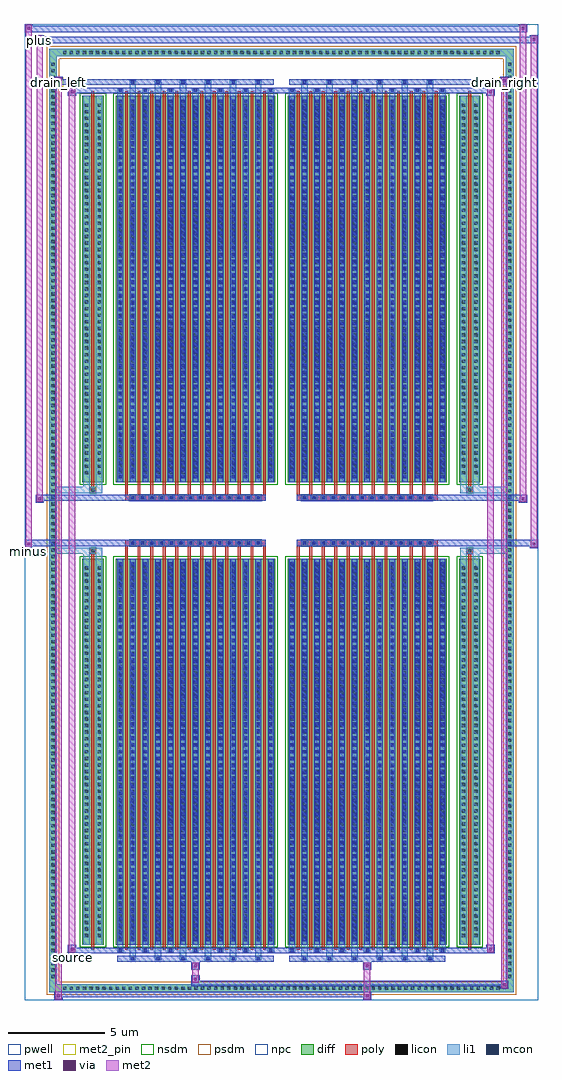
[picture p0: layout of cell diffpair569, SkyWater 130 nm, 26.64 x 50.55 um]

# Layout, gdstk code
import gdstk
lib = gdstk.Library(unit=1e-6, precision=5e-09)
def R(c, l, rs):  # rectangles x0, y0, x1, y1
    for r in rs: c.add(gdstk.rectangle(r[:2], r[2:], *l))
def A(c, l, x, y, w, h, nx, ny, dx, dy):  # array of equal rectangles
    R(c, l, [(x+i*dx, y+j*dy, x+i*dx+w, y+j*dy+h) for i in range(nx) for j in range(ny)])
def P(c, l, *ps):  # polygons
    for p in ps: c.add(gdstk.Polygon(p, *l))
pwell = (64, 44)
diff = (65, 20)
poly = (66, 20)
licon = (66, 44)
li1 = (67, 20)
mcon = (67, 44)
met1 = (68, 20)
via = (68, 44)
met2_pin = (69, 16)
met2 = (69, 20)
nsdm = (93, 44)
psdm = (94, 20)
npc = (95, 20)

diffpair569 = lib.new_cell('diffpair569')
R(diffpair569, pwell, [(-13.3,-24.84,13.3,25.71), (-10.62,-23.03,-0.01,-0.805), (0.01,-23.03,10.62,-0.805), (-10.62,0.805,-0.01,23.03), (0.01,0.805,10.62,23.03)])
A(diffpair569, diff, -11.425, -24.44, 0.41, 0.41, 67, 2, 0.34, 48.47)
A(diffpair569, diff, -12.03, -23.835, 0.41, 0.41, 1, 140, 0, 0.34)
A(diffpair569, diff, 11.62, -23.835, 0.41, 0.41, 1, 140, 0, 0.34)
R(diffpair569, diff, [(-11.425,-24.44,11.425,-24.03), (-12.03,-23.835,-11.62,23.835), (11.62,-23.835,12.03,23.835), (-10.31,-21.985,-9.21,-1.985), (-8.57,-21.985,-0.32,-1.985), (0.32,-21.985,8.57,-1.985), (9.21,-21.985,10.31,-1.985), (-10.31,1.985,-9.21,21.985), (-8.57,1.985,-0.32,21.985), (0.32,1.985,8.57,21.985), (9.21,1.985,10.31,21.985), (-11.425,24.03,11.425,24.44)])
P(diffpair569, diff, [(12.03,24.44),(-12.03,24.44),(-12.03,-24.03),(-11.62,-24.03),(-11.62,24.03),(11.62,24.03),(11.62,-24.03),(-11.62,-24.03),(-12.03,-24.03),(-12.03,-24.44),(12.03,-24.44)])
A(diffpair569, poly, -8.095, -22.235, 0.15, 20.5, 12, 2, 0.65, 23.97)
A(diffpair569, poly, 0.795, -22.235, 0.15, 20.5, 12, 2, 0.65, 23.97)
A(diffpair569, poly, -8.095, -1.735, 0.15, 0.4, 12, 2, 0.65, 3.07)
A(diffpair569, poly, 0.795, -1.735, 0.15, 0.4, 12, 2, 0.65, 3.07)
A(diffpair569, poly, -7.86, -1.335, 0.33, 0.33, 14, 2, 0.5, 2.34)
A(diffpair569, poly, 1.03, -1.335, 0.33, 0.33, 14, 2, 0.5, 2.34)
R(diffpair569, poly, [(-9.835,-22.235,-9.685,-1.735), (9.685,-22.235,9.835,-1.735), (-9.925,-1.735,-9.595,-1.405), (-9.925,-1.735,-9.595,-1.405), (9.595,-1.735,9.925,-1.405), (9.595,-1.735,9.925,-1.405), (-8.095,-1.335,-0.795,-1.005), (0.795,-1.335,8.095,-1.005), (-8.095,1.005,-0.795,1.335), (0.795,1.005,8.095,1.335), (-9.925,1.405,-9.595,1.735), (-9.925,1.405,-9.595,1.735), (9.595,1.405,9.925,1.735), (9.595,1.405,9.925,1.735), (-9.835,1.735,-9.685,22.235), (9.685,1.735,9.835,22.235)])
A(diffpair569, licon, -11.305, -24.32, 0.17, 0.17, 67, 2, 0.34, 48.47)
A(diffpair569, licon, -11.91, -23.715, 0.17, 0.17, 1, 140, 0, 0.34)
A(diffpair569, licon, 11.74, -23.715, 0.17, 0.17, 1, 140, 0, 0.34)
A(diffpair569, licon, -10.17, -21.59, 0.17, 0.17, 1, 57, 0, 0.34)
A(diffpair569, licon, -9.52, -21.59, 0.17, 0.17, 1, 57, 0, 0.34)
A(diffpair569, licon, -8.43, -21.59, 0.17, 0.17, 13, 57, 0.65, 0.34)
A(diffpair569, licon, 0.46, -21.59, 0.17, 0.17, 13, 57, 0.65, 0.34)
A(diffpair569, licon, 9.35, -21.59, 0.17, 0.17, 1, 57, 0, 0.34)
A(diffpair569, licon, 10, -21.59, 0.17, 0.17, 1, 57, 0, 0.34)
A(diffpair569, licon, -7.78, -1.255, 0.17, 0.17, 14, 2, 0.5, 2.34)
A(diffpair569, licon, 1.11, -1.255, 0.17, 0.17, 14, 2, 0.5, 2.34)
A(diffpair569, licon, -10.17, 2.38, 0.17, 0.17, 1, 57, 0, 0.34)
A(diffpair569, licon, -9.52, 2.38, 0.17, 0.17, 1, 57, 0, 0.34)
A(diffpair569, licon, -8.43, 2.38, 0.17, 0.17, 13, 57, 0.65, 0.34)
A(diffpair569, licon, 0.46, 2.38, 0.17, 0.17, 13, 57, 0.65, 0.34)
A(diffpair569, licon, 9.35, 2.38, 0.17, 0.17, 1, 57, 0, 0.34)
A(diffpair569, licon, 10, 2.38, 0.17, 0.17, 1, 57, 0, 0.34)
R(diffpair569, licon, [(-9.845,-1.655,-9.675,-1.485), (9.675,-1.655,9.845,-1.485), (-9.845,1.485,-9.675,1.655), (9.675,1.485,9.845,1.655)])
A(diffpair569, li1, -11.385, -24.4, 0.33, 0.33, 67, 2, 0.34, 48.47)
A(diffpair569, li1, -11.99, -23.795, 0.33, 0.33, 1, 140, 0, 0.34)
A(diffpair569, li1, 11.66, -23.795, 0.33, 0.33, 1, 140, 0, 0.34)
A(diffpair569, li1, -7.86, -22.79, 0.33, 0.805, 6, 2, 1.3, 44.775)
A(diffpair569, li1, -7.78, -22.79, 0.17, 0.17, 6, 2, 1.3, 45.41)
A(diffpair569, li1, 1.03, -22.79, 0.33, 0.805, 6, 2, 1.3, 44.775)
A(diffpair569, li1, 1.11, -22.79, 0.17, 0.17, 6, 2, 1.3, 45.41)
A(diffpair569, li1, -8.51, -22.36, 0.33, 0.375, 7, 2, 1.3, 44.345)
A(diffpair569, li1, -8.43, -22.36, 0.17, 0.17, 7, 2, 1.3, 44.55)
A(diffpair569, li1, 0.38, -22.36, 0.33, 0.375, 7, 2, 1.3, 44.345)
A(diffpair569, li1, 0.46, -22.36, 0.17, 0.17, 7, 2, 1.3, 44.55)
A(diffpair569, li1, -8.51, -21.985, 0.33, 20, 13, 2, 0.65, 23.97)
A(diffpair569, li1, 0.38, -21.985, 0.33, 20, 13, 2, 0.65, 23.97)
A(diffpair569, li1, -8.43, -21.79, 0.17, 0.17, 13, 55, 0.65, 0.36)
A(diffpair569, li1, -8.43, -21.79, 0.17, 19.61, 13, 2, 0.65, 23.97)
A(diffpair569, li1, 0.46, -21.79, 0.17, 0.17, 13, 55, 0.65, 0.36)
A(diffpair569, li1, 0.46, -21.79, 0.17, 19.61, 13, 2, 0.65, 23.97)
A(diffpair569, li1, -10.25, -21.67, 0.33, 0.33, 1, 57, 0, 0.34)
A(diffpair569, li1, -9.6, -21.67, 0.33, 0.33, 1, 57, 0, 0.34)
A(diffpair569, li1, -8.51, -21.67, 0.33, 0.33, 13, 57, 0.65, 0.34)
A(diffpair569, li1, 0.38, -21.67, 0.33, 0.33, 13, 57, 0.65, 0.34)
A(diffpair569, li1, 9.27, -21.67, 0.33, 0.33, 1, 57, 0, 0.34)
A(diffpair569, li1, 9.92, -21.67, 0.33, 0.33, 1, 57, 0, 0.34)
A(diffpair569, li1, -7.86, -1.335, 0.33, 0.33, 14, 2, 0.5, 2.34)
A(diffpair569, li1, 1.03, -1.335, 0.33, 0.33, 14, 2, 0.5, 2.34)
A(diffpair569, li1, -8.43, 2.18, 0.17, 0.17, 13, 55, 0.65, 0.36)
A(diffpair569, li1, 0.46, 2.18, 0.17, 0.17, 13, 55, 0.65, 0.36)
A(diffpair569, li1, -10.25, 2.3, 0.33, 0.33, 1, 57, 0, 0.34)
A(diffpair569, li1, -9.6, 2.3, 0.33, 0.33, 1, 57, 0, 0.34)
A(diffpair569, li1, -8.51, 2.3, 0.33, 0.33, 13, 57, 0.65, 0.34)
A(diffpair569, li1, 0.38, 2.3, 0.33, 0.33, 13, 57, 0.65, 0.34)
A(diffpair569, li1, 9.27, 2.3, 0.33, 0.33, 1, 57, 0, 0.34)
A(diffpair569, li1, 9.92, 2.3, 0.33, 0.33, 1, 57, 0, 0.34)
R(diffpair569, li1, [(-12.03,-24.44,-11.62,-24.03), (-12.03,-24.44,-11.62,-24.03), (-11.62,-24.44,11.62,-24.03), (11.62,-24.44,12.03,-24.03), (11.62,-24.44,12.03,-24.03), (-12.03,-24.03,-11.62,24.03), (11.62,-24.03,12.03,24.03), (-10.25,-21.985,-9.92,-1.985), (-9.6,-21.985,-9.27,-1.985), (9.27,-21.985,9.6,-1.985), (9.92,-21.985,10.25,-1.985), (-10.25,-1.985,-9.92,-1.405), (-9.6,-1.985,-9.27,-1.405), (9.27,-1.985,9.6,-1.405), (9.92,-1.985,10.25,-1.405), (-12.03,-1.735,-9.925,-1.405), (-10.25,-1.735,-9.925,-1.405), (-9.925,-1.735,-9.595,-1.405), (-9.595,-1.735,-9.27,-1.405), (9.27,-1.735,9.595,-1.405), (9.595,-1.735,9.925,-1.405), (9.595,-1.735,12.03,-1.405), (9.925,-1.735,10.25,-1.405), (-12.03,1.405,-9.925,1.735), (-10.25,1.405,-9.925,1.735), (-10.25,1.405,-9.92,1.985), (-9.925,1.405,-9.595,1.735), (-9.6,1.405,-9.27,1.985), (-9.595,1.405,-9.27,1.735), (9.27,1.405,9.595,1.735), (9.27,1.405,9.6,1.985), (9.595,1.405,9.925,1.735), (9.595,1.405,12.03,1.735), (9.92,1.405,10.25,1.985), (9.925,1.405,10.25,1.735), (-10.25,1.985,-9.92,21.985), (-9.6,1.985,-9.27,21.985), (9.27,1.985,9.6,21.985), (9.92,1.985,10.25,21.985), (-12.03,24.03,-11.62,24.44), (-12.03,24.03,-11.62,24.44), (-11.62,24.03,11.62,24.44), (11.62,24.03,12.03,24.44), (11.62,24.03,12.03,24.44)])
A(diffpair569, mcon, -7.78, -22.79, 0.17, 0.17, 6, 2, 1.3, 45.41)
A(diffpair569, mcon, 1.11, -22.79, 0.17, 0.17, 6, 2, 1.3, 45.41)
A(diffpair569, mcon, -8.43, -22.36, 0.17, 0.17, 7, 2, 1.3, 44.55)
A(diffpair569, mcon, 0.46, -22.36, 0.17, 0.17, 7, 2, 1.3, 44.55)
A(diffpair569, mcon, -8.43, -21.79, 0.17, 0.17, 13, 55, 0.65, 0.36)
A(diffpair569, mcon, 0.46, -21.79, 0.17, 0.17, 13, 55, 0.65, 0.36)
A(diffpair569, mcon, -7.78, -1.255, 0.17, 0.17, 14, 2, 0.5, 2.34)
A(diffpair569, mcon, 1.11, -1.255, 0.17, 0.17, 14, 2, 0.5, 2.34)
A(diffpair569, mcon, -8.43, 2.18, 0.17, 0.17, 13, 55, 0.65, 0.36)
A(diffpair569, mcon, 0.46, 2.18, 0.17, 0.17, 13, 55, 0.65, 0.36)
A(diffpair569, met1, -7.84, -22.85, 0.29, 0.29, 6, 2, 1.3, 45.41)
A(diffpair569, met1, 1.05, -22.85, 0.29, 0.29, 6, 2, 1.3, 45.41)
A(diffpair569, met1, -8.49, -22.42, 0.29, 0.29, 7, 2, 1.3, 44.55)
A(diffpair569, met1, 0.4, -22.42, 0.29, 0.29, 7, 2, 1.3, 44.55)
A(diffpair569, met1, -8.49, -21.985, 0.29, 20, 13, 2, 0.65, 23.97)
A(diffpair569, met1, 0.4, -21.985, 0.29, 20, 13, 2, 0.65, 23.97)
A(diffpair569, met1, -8.49, -21.85, 0.29, 0.29, 13, 55, 0.65, 0.36)
A(diffpair569, met1, 0.4, -21.85, 0.29, 0.29, 13, 55, 0.65, 0.36)
A(diffpair569, met1, -7.84, -1.315, 0.29, 0.29, 14, 2, 0.5, 2.34)
A(diffpair569, met1, 1.05, -1.315, 0.29, 0.29, 14, 2, 0.5, 2.34)
A(diffpair569, met1, -8.49, 2.12, 0.29, 0.29, 13, 55, 0.65, 0.36)
A(diffpair569, met1, 0.4, 2.12, 0.29, 0.29, 13, 55, 0.65, 0.36)
R(diffpair569, met1, [(-11.76,-24.84,-11.33,-24.41), (4.23,-24.84,4.66,-24.41), (-11.76,-24.7,4.66,-24.41), (11.33,-24.27,11.76,-23.84), (-4.66,-24.13,11.76,-23.84), (-4.66,-23.99,-4.23,-23.56), (-4.66,-23.28,-4.23,-22.85), (4.23,-23.28,4.66,-22.85), (-8.49,-22.85,-0.4,-22.56), (0.4,-22.85,8.49,-22.56), (-11.05,-22.42,-10.62,-21.99), (-11.05,-22.42,-8.49,-22.13), (-8.49,-22.42,-0.4,-22.13), (-0.4,-22.42,0.4,-22.13), (0.4,-22.42,8.49,-22.13), (8.49,-22.42,11.05,-22.13), (10.62,-22.42,11.05,-21.99), (-13.3,-1.435,-12.87,-1.005), (12.87,-1.435,13.3,-1.005), (-13.3,-1.335,-0.795,-1.005), (-8.095,-1.335,-0.795,-1.005), (0.795,-1.335,8.095,-1.005), (0.795,-1.335,13.3,-1.005), (-12.73,0.905,-12.3,1.335), (12.3,0.905,12.73,1.335), (-12.73,1.005,-8.095,1.335), (-8.095,1.005,-0.795,1.335), (0.795,1.005,8.095,1.335), (8.095,1.005,12.73,1.335), (-11.05,21.99,-10.62,22.42), (10.62,21.99,11.05,22.42), (-11.05,22.13,-8.49,22.42), (-8.49,22.13,-0.4,22.42), (-0.4,22.13,0.4,22.42), (0.4,22.13,8.49,22.42), (8.49,22.13,11.05,22.42), (-11.76,22.56,-11.33,22.99), (-11.76,22.56,-8.49,22.85), (-8.49,22.56,-0.4,22.85), (0.4,22.56,8.49,22.85), (8.49,22.56,11.76,22.85), (11.33,22.56,11.76,22.99), (-12.73,24.71,-12.3,25.14), (-12.73,24.71,-10.62,25.04), (-10.62,24.71,10.62,25.04), (10.62,24.71,13.3,25.04), (12.87,24.71,13.3,25.14), (-13.3,25.28,-12.87,25.71), (-13.3,25.28,-10.62,25.61), (-10.62,25.28,10.62,25.61), (10.62,25.28,12.73,25.61), (12.3,25.28,12.73,25.71)])
R(diffpair569, via, [(-11.62,-24.7,-11.47,-24.55), (4.37,-24.7,4.52,-24.55), (11.47,-24.13,11.62,-23.98), (-4.52,-23.85,-4.37,-23.7), (-4.52,-23.14,-4.37,-22.99), (4.37,-23.14,4.52,-22.99), (-10.91,-22.28,-10.76,-22.13), (10.76,-22.28,10.91,-22.13), (-13.16,-1.295,-13.01,-1.145), (13.01,-1.295,13.16,-1.145), (-12.59,1.045,-12.44,1.195), (12.44,1.045,12.59,1.195), (-10.91,22.13,-10.76,22.28), (10.76,22.13,10.91,22.28), (-11.62,22.7,-11.47,22.85), (11.47,22.7,11.62,22.85), (-12.59,24.85,-12.44,25), (13.01,24.85,13.16,25), (-13.16,25.42,-13.01,25.57), (12.44,25.42,12.59,25.57)])
R(diffpair569, met2_pin, [(-11.085,-22.87,-10.585,-22.37), (-13.335,-1.885,-12.835,-1.385), (-11.795,22.44,-11.295,22.94), (11.295,22.44,11.795,22.94), (-12.765,24.59,-12.265,25.09)])
R(diffpair569, met2, [(-11.71,-24.79,-11.38,-24.46), (-11.71,-24.79,-11.38,22.94), (4.28,-24.79,4.61,-24.46), (4.28,-24.46,4.61,-23.23), (11.38,-24.22,11.71,-23.89), (11.38,-24.22,11.71,22.94), (-4.61,-23.94,-4.28,-23.61), (-4.61,-23.61,-4.28,-23.23), (-4.61,-23.23,-4.28,-22.9), (4.28,-23.23,4.61,-22.9), (-11,-22.37,-10.67,-22.04), (-11,-22.37,-10.67,22.37), (10.67,-22.37,11,-22.04), (10.67,-22.37,11,22.37), (-13.25,-1.385,-12.92,-1.055), (-13.25,-1.385,-12.92,25.66), (12.92,-1.385,13.25,-1.055), (12.92,-1.385,13.25,25.09), (-12.68,0.955,-12.35,1.285), (-12.68,0.955,-12.35,25.09), (12.35,0.955,12.68,1.285), (12.35,0.955,12.68,25.66), (-11,22.04,-10.67,22.37), (10.67,22.04,11,22.37), (-11.71,22.61,-11.38,22.94), (11.38,22.61,11.71,22.94), (-12.68,24.76,-12.35,25.09), (12.92,24.76,13.25,25.09), (-13.25,25.33,-12.92,25.66), (12.35,25.33,12.68,25.66)])
P(diffpair569, met2, [(13.25,-1.385),(13.25,-1.385),(13.25,-1.055),(13.25,-1.055)],
  [(13.25,24.76),(13.25,24.76),(13.25,25.09),(13.25,25.09)],
  [(-12.92,-1.385),(-12.92,-1.385),(-12.92,-1.055),(-12.92,-1.055)],
  [(-12.92,25.33),(-12.92,25.33),(-12.92,25.66),(-12.92,25.66)],
  [(12.68,0.955),(12.68,0.955),(12.68,1.285),(12.68,1.285)],
  [(12.68,25.33),(12.68,25.33),(12.68,25.66),(12.68,25.66)],
  [(-12.35,0.955),(-12.35,0.955),(-12.35,1.285),(-12.35,1.285)],
  [(-12.35,24.76),(-12.35,24.76),(-12.35,25.09),(-12.35,25.09)],
  [(-11.38,-24.79),(-11.38,-24.79),(-11.38,-24.46),(-11.38,-24.46)],
  [(-11.38,22.61),(-11.38,22.61),(-11.38,22.94),(-11.38,22.94)],
  [(11.71,-24.22),(11.71,-24.22),(11.71,-23.89),(11.71,-23.89)],
  [(11.71,22.61),(11.71,22.61),(11.71,22.94),(11.71,22.94)],
  [(-10.67,-22.37),(-10.67,-22.37),(-10.67,-22.04),(-10.67,-22.04)],
  [(-10.67,22.04),(-10.67,22.04),(-10.67,22.37),(-10.67,22.37)],
  [(11,-22.37),(11,-22.37),(11,-22.04),(11,-22.04)],
  [(11,22.04),(11,22.04),(11,22.37),(11,22.37)])
R(diffpair569, nsdm, [(-10.44,-22.115,-9.08,-1.855), (-8.7,-22.115,-0.19,-1.855), (0.19,-22.115,8.7,-1.855), (9.08,-22.115,10.44,-1.855), (-10.44,1.855,-9.08,22.115), (-8.7,1.855,-0.19,22.115), (0.19,1.855,8.7,22.115), (9.08,1.855,10.44,22.115)])
P(diffpair569, psdm, [(12.16,24.57),(-12.16,24.57),(-12.16,-23.9),(-11.49,-23.9),(-11.49,23.9),(11.49,23.9),(11.49,-23.9),(-11.49,-23.9),(-12.16,-23.9),(-12.16,-24.57),(12.16,-24.57)])
A(diffpair569, npc, -7.88, -1.355, 0.37, 0.37, 14, 2, 0.5, 2.34)
A(diffpair569, npc, 1.01, -1.355, 0.37, 0.37, 14, 2, 0.5, 2.34)
R(diffpair569, npc, [(-9.945,-1.755,-9.575,-1.385), (9.575,-1.755,9.945,-1.385), (-7.88,-1.355,-7.01,-0.985), (-7.88,-1.355,-7.01,-0.985), (-7.38,-1.355,-6.51,-0.985), (-7.38,-1.355,-6.51,-0.985), (-6.88,-1.355,-6.01,-0.985), (-6.88,-1.355,-6.01,-0.985), (-6.38,-1.355,-5.51,-0.985), (-6.38,-1.355,-5.51,-0.985), (-5.88,-1.355,-5.01,-0.985), (-5.88,-1.355,-5.01,-0.985), (-5.38,-1.355,-4.51,-0.985), (-5.38,-1.355,-4.51,-0.985), (-4.88,-1.355,-4.01,-0.985), (-4.88,-1.355,-4.01,-0.985), (-4.38,-1.355,-3.51,-0.985), (-4.38,-1.355,-3.51,-0.985), (-3.88,-1.355,-3.01,-0.985), (-3.88,-1.355,-3.01,-0.985), (-3.38,-1.355,-2.51,-0.985), (-3.38,-1.355,-2.51,-0.985), (-2.88,-1.355,-2.01,-0.985), (-2.88,-1.355,-2.01,-0.985), (-2.38,-1.355,-1.51,-0.985), (-2.38,-1.355,-1.51,-0.985), (-1.88,-1.355,-1.01,-0.985), (-1.88,-1.355,-1.01,-0.985), (1.01,-1.355,1.88,-0.985), (1.01,-1.355,1.88,-0.985), (1.51,-1.355,2.38,-0.985), (1.51,-1.355,2.38,-0.985), (2.01,-1.355,2.88,-0.985), (2.01,-1.355,2.88,-0.985), (2.51,-1.355,3.38,-0.985), (2.51,-1.355,3.38,-0.985), (3.01,-1.355,3.88,-0.985), (3.01,-1.355,3.88,-0.985), (3.51,-1.355,4.38,-0.985), (3.51,-1.355,4.38,-0.985), (4.01,-1.355,4.88,-0.985), (4.01,-1.355,4.88,-0.985), (4.51,-1.355,5.38,-0.985), (4.51,-1.355,5.38,-0.985), (5.01,-1.355,5.88,-0.985), (5.01,-1.355,5.88,-0.985), (5.51,-1.355,6.38,-0.985), (5.51,-1.355,6.38,-0.985), (6.01,-1.355,6.88,-0.985), (6.01,-1.355,6.88,-0.985), (6.51,-1.355,7.38,-0.985), (6.51,-1.355,7.38,-0.985), (7.01,-1.355,7.88,-0.985), (7.01,-1.355,7.88,-0.985), (-7.88,0.985,-7.01,1.355), (-7.88,0.985,-7.01,1.355), (-7.38,0.985,-6.51,1.355), (-7.38,0.985,-6.51,1.355), (-6.88,0.985,-6.01,1.355), (-6.88,0.985,-6.01,1.355), (-6.38,0.985,-5.51,1.355), (-6.38,0.985,-5.51,1.355), (-5.88,0.985,-5.01,1.355), (-5.88,0.985,-5.01,1.355), (-5.38,0.985,-4.51,1.355), (-5.38,0.985,-4.51,1.355), (-4.88,0.985,-4.01,1.355), (-4.88,0.985,-4.01,1.355), (-4.38,0.985,-3.51,1.355), (-4.38,0.985,-3.51,1.355), (-3.88,0.985,-3.01,1.355), (-3.88,0.985,-3.01,1.355), (-3.38,0.985,-2.51,1.355), (-3.38,0.985,-2.51,1.355), (-2.88,0.985,-2.01,1.355), (-2.88,0.985,-2.01,1.355), (-2.38,0.985,-1.51,1.355), (-2.38,0.985,-1.51,1.355), (-1.88,0.985,-1.01,1.355), (-1.88,0.985,-1.01,1.355), (1.01,0.985,1.88,1.355), (1.01,0.985,1.88,1.355), (1.51,0.985,2.38,1.355), (1.51,0.985,2.38,1.355), (2.01,0.985,2.88,1.355), (2.01,0.985,2.88,1.355), (2.51,0.985,3.38,1.355), (2.51,0.985,3.38,1.355), (3.01,0.985,3.88,1.355), (3.01,0.985,3.88,1.355), (3.51,0.985,4.38,1.355), (3.51,0.985,4.38,1.355), (4.01,0.985,4.88,1.355), (4.01,0.985,4.88,1.355), (4.51,0.985,5.38,1.355), (4.51,0.985,5.38,1.355), (5.01,0.985,5.88,1.355), (5.01,0.985,5.88,1.355), (5.51,0.985,6.38,1.355), (5.51,0.985,6.38,1.355), (6.01,0.985,6.88,1.355), (6.01,0.985,6.88,1.355), (6.51,0.985,7.38,1.355), (6.51,0.985,7.38,1.355), (7.01,0.985,7.88,1.355), (7.01,0.985,7.88,1.355), (-9.945,1.385,-9.575,1.755), (9.575,1.385,9.945,1.755)])
diffpair569.add(gdstk.Label('minus', (-13.085,-1.635), layer=69, texttype=5))
diffpair569.add(gdstk.Label('drain_right', (11.545,22.69), layer=69, texttype=5))
diffpair569.add(gdstk.Label('drain_left', (-11.545,22.69), layer=69, texttype=5))
diffpair569.add(gdstk.Label('source', (-10.835,-22.62), layer=69, texttype=5))
diffpair569.add(gdstk.Label('plus', (-12.515,24.84), layer=69, texttype=5))

lib.write_gds('diffpair569.gds')
